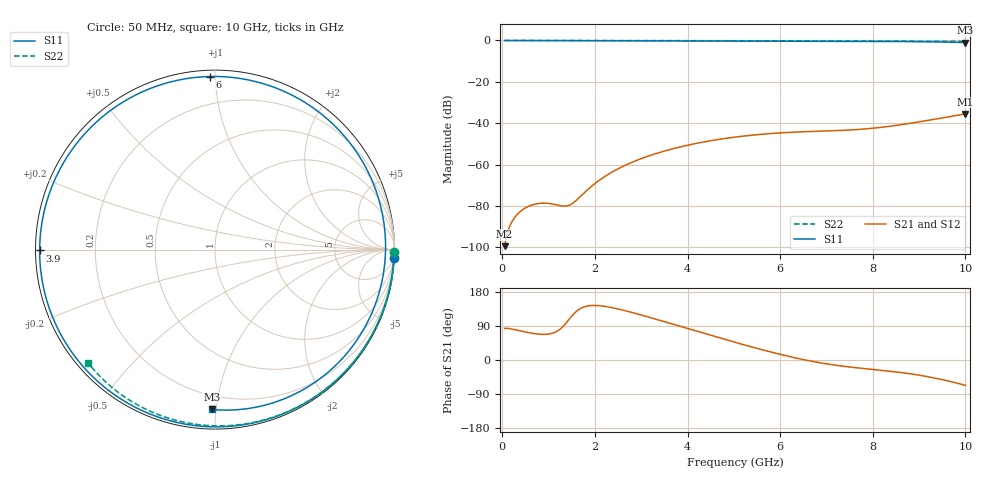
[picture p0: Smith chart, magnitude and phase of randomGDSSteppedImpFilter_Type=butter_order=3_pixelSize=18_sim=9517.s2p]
! freq	dB(S11)	phase(S11)	dB(S12)	phase(S12)
!  dB(S21)	phase(S21)	dB(S22)	phase(S22)
!S-par simulation data
#  GHz  S  DB  R 50
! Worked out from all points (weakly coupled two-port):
!   200 points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, 50 MHz to 10 GHz, reference 50 ohm
!   highest |S21| = -35.53 dB at 10 GHz (marker M1); lowest = -99.5 dB at 50 MHz (marker M2)
!   lowest |S11| = -1.0 dB at 10 GHz (marker M3), VSWR 17.34, Z = 5.64 - j48.7 ohm
!   |S11| at or under -10 dB: nowhere
!   |S22| runs from -0.5 to 0.0 dB; largest |S21 - S12| = 0
!   S11 on the Smith chart (normalised r, x): 50 MHz: 3, -43; 3.9 GHz: 0.01, -0.00; 6 GHz: 0.03, +0.97; 10 GHz: 0.11, -0.97
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0.05  -0.03 -2.6  -99.46 83.4  -99.46 83.4  -0.00 -0.8
0.65  -0.05 -33.8  -79.49 70.4  -79.49 70.4  -0.01 -10.3
0.9  -0.06 -46.5  -78.65 67.6  -78.65 67.6  -0.02 -14.3
1.4  -0.09 -71.2  -79.98 100.8  -79.98 100.8  -0.03 -22.2
1.75  -0.11 -87.7  -74.08 139.4  -74.08 139.4  -0.04 -27.6
2.1  -0.12 -103.7  -67.52 143.3  -67.52 143.3  -0.04 -33.0
2.45  -0.14 -119.1  -62.66 136.0  -62.66 136.0  -0.05 -38.3
2.95  -0.16 -140.5  -57.56 120.4  -57.56 120.4  -0.06 -45.8
3.4  -0.18 -159.2  -54.13 104.7  -54.13 104.7  -0.07 -52.5
3.9  -0.20 -179.7  -51.17 86.7  -51.17 86.7  -0.08 -59.7
4.45  -0.23 157.7  -48.67 66.9  -48.67 66.9  -0.10 -67.6
5.05  -0.26 132.7  -46.66 45.8  -46.66 45.8  -0.12 -75.9
5.55  -0.29 111.4  -45.46 29.0  -45.46 29.0  -0.14 -82.7
6  -0.31 91.8  -44.70 15.0  -44.70 15.0  -0.15 -88.6
6.7  -0.34 60.7  -43.98 -3.8  -43.98 -3.8  -0.19 -97.7
7.55  -0.40 22.5  -43.23 -19.2  -43.23 -19.2  -0.24 -108.5
7.95  -0.43 4.6  -42.56 -24.2  -42.56 -24.2  -0.27 -113.4
8.35  -0.48 -13.1  -41.55 -29.2  -41.55 -29.2  -0.30 -118.3
8.8  -0.56 -33.1  -40.09 -36.2  -40.09 -36.2  -0.34 -123.8
9.25  -0.67 -53.5  -38.43 -45.5  -38.43 -45.5  -0.39 -129.2
9.65  -0.82 -72.7  -36.88 -56.0  -36.88 -56.0  -0.43 -134.1
10  -1.00 -91.1  -35.53 -66.9  -35.53 -66.9  -0.47 -138.3
